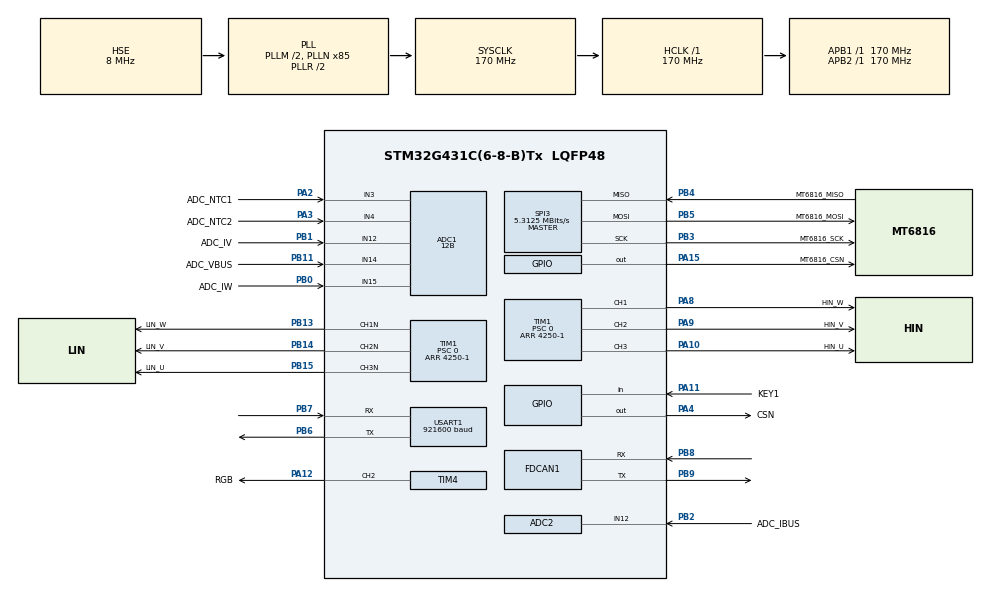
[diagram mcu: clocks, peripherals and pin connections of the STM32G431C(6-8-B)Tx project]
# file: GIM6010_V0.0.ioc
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ADC1.Channel-0\#ChannelRegularConversion=ADC_CHANNEL_14
ADC1.Channel-1\#ChannelRegularConversion=ADC_CHANNEL_3
ADC1.Channel-2\#ChannelRegularConversion=ADC_CHANNEL_4
ADC1.ContinuousConvMode=DISABLE
ADC1.DMAContinuousRequests=DISABLE
ADC1.DiscontinuousConvMode=DISABLE
ADC1.EOCSelection=ADC_EOC_SEQ_CONV
ADC1.EnableInjectedConversion=ENABLE
ADC1.EnableRegularConversion=ENABLE
ADC1.ExternalTrigConv=ADC_SOFTWARE_START
ADC1.ExternalTrigConvEdge=ADC_EXTERNALTRIGCONVEDGE_NONE
ADC1.ExternalTrigInjecConv=ADC_EXTERNALTRIGINJEC_T1_CC4
ADC1.ExternalTrigInjecConvEdge=ADC_EXTERNALTRIGINJECCONV_EDGE_RISING
ADC1.InjNumberOfConversion=3
ADC1.InjectedChannel-1\#ChannelInjectedConversion=ADC_CHANNEL_12
ADC1.InjectedChannel-2\#ChannelInjectedConversion=ADC_CHANNEL_15
ADC1.InjectedChannel-3\#ChannelInjectedConversion=ADC_CHANNEL_14
ADC1.InjectedConvMode=None
ADC1.InjectedOffsetNumber-1\#ChannelInjectedConversion=ADC_OFFSET_NONE
ADC1.InjectedOffsetNumber-2\#ChannelInjectedConversion=ADC_OFFSET_NONE
ADC1.InjectedOffsetNumber-3\#ChannelInjectedConversion=ADC_OFFSET_NONE
ADC1.InjectedRank-1\#ChannelInjectedConversion=1
ADC1.InjectedRank-2\#ChannelInjectedConversion=2
ADC1.InjectedRank-3\#ChannelInjectedConversion=3
ADC1.InjectedSamplingTime-1\#ChannelInjectedConversion=ADC_SAMPLETIME_47CYCLES_5
ADC1.InjectedSamplingTime-2\#ChannelInjectedConversion=ADC_SAMPLETIME_47CYCLES_5
ADC1.InjectedSamplingTime-3\#ChannelInjectedConversion=ADC_SAMPLETIME_47CYCLES_5
ADC1.LowPowerAutoWait=DISABLE
ADC1.NbrOfConversion=3
ADC1.NbrOfConversionFlag=1
ADC1.OffsetNumber-0\#ChannelRegularConversion=ADC_OFFSET_NONE
ADC1.OffsetNumber-1\#ChannelRegularConversion=ADC_OFFSET_NONE
ADC1.OffsetNumber-2\#ChannelRegularConversion=ADC_OFFSET_NONE
ADC1.Overrun=ADC_OVR_DATA_PRESERVED
ADC1.Rank-0\#ChannelRegularConversion=1
ADC1.Rank-1\#ChannelRegularConversion=2
ADC1.Rank-2\#ChannelRegularConversion=3
ADC1.Resolution=ADC_RESOLUTION_12B
ADC1.SamplingTime-0\#ChannelRegularConversion=ADC_SAMPLETIME_47CYCLES_5
ADC1.SamplingTime-1\#ChannelRegularConversion=ADC_SAMPLETIME_47CYCLES_5
ADC1.SamplingTime-2\#ChannelRegularConversion=ADC_SAMPLETIME_47CYCLES_5
ADC1.ScanConvMode=ADC_SCAN_ENABLE
ADC1.SingleDiff-1\#ChannelInjectedConversion=ADC_SINGLE_ENDED
ADC1.SingleDiff-2\#ChannelInjectedConversion=ADC_SINGLE_ENDED
ADC1.SingleDiff-3\#ChannelInjectedConversion=ADC_SINGLE_ENDED
ADC1.master=1
ADC2.Channel-0\#ChannelRegularConversion=ADC_CHANNEL_12
ADC2.ContinuousConvMode=DISABLE
ADC2.DiscontinuousConvMode=DISABLE
ADC2.EnableInjectedConversion=DISABLE
ADC2.EnableRegularConversion=ENABLE
ADC2.ExternalTrigConv=ADC_SOFTWARE_START
ADC2.ExternalTrigConvEdge=ADC_EXTERNALTRIGCONVEDGE_NONE
ADC2.NbrOfConversionFlag=1
ADC2.OffsetNumber-0\#ChannelRegularConversion=ADC_OFFSET_NONE
ADC2.Overrun=ADC_OVR_DATA_PRESERVED
ADC2.Rank-0\#ChannelRegularConversion=1
ADC2.Resolution=ADC_RESOLUTION_12B
ADC2.SamplingTime-0\#ChannelRegularConversion=ADC_SAMPLETIME_47CYCLES_5
Dma.Request0=USART1_TX
Dma.Request1=USART1_RX
Dma.Request2=SPI3_RX
Dma.Request3=SPI3_TX
Dma.Request4=TIM4_CH2
Dma.SPI3_RX.2.Direction=DMA_PERIPH_TO_MEMORY
Dma.SPI3_RX.2.EventEnable=DISABLE
Dma.SPI3_RX.2.Instance=DMA2_Channel1
Dma.SPI3_RX.2.MemDataAlignment=DMA_MDATAALIGN_HALFWORD
Dma.SPI3_RX.2.MemInc=DMA_MINC_ENABLE
Dma.SPI3_RX.2.Mode=DMA_NORMAL
Dma.SPI3_RX.2.PeriphDataAlignment=DMA_PDATAALIGN_HALFWORD
Dma.SPI3_RX.2.PeriphInc=DMA_PINC_DISABLE
Dma.SPI3_RX.2.Polarity=HAL_DMAMUX_REQ_GEN_RISING
Dma.SPI3_RX.2.Priority=DMA_PRIORITY_HIGH
Dma.SPI3_RX.2.RequestNumber=1
Dma.SPI3_RX.2.SignalID=NONE
Dma.SPI3_RX.2.SyncEnable=DISABLE
Dma.SPI3_RX.2.SyncPolarity=HAL_DMAMUX_SYNC_NO_EVENT
Dma.SPI3_RX.2.SyncRequestNumber=1
Dma.SPI3_RX.2.SyncSignalID=NONE
Dma.SPI3_TX.3.Direction=DMA_MEMORY_TO_PERIPH
Dma.SPI3_TX.3.EventEnable=DISABLE
Dma.SPI3_TX.3.Instance=DMA2_Channel2
Dma.SPI3_TX.3.MemDataAlignment=DMA_MDATAALIGN_HALFWORD
Dma.SPI3_TX.3.MemInc=DMA_MINC_ENABLE
Dma.SPI3_TX.3.Mode=DMA_NORMAL
Dma.SPI3_TX.3.PeriphDataAlignment=DMA_PDATAALIGN_HALFWORD
Dma.SPI3_TX.3.PeriphInc=DMA_PINC_DISABLE
Dma.SPI3_TX.3.Polarity=HAL_DMAMUX_REQ_GEN_RISING
Dma.SPI3_TX.3.Priority=DMA_PRIORITY_HIGH
Dma.SPI3_TX.3.RequestNumber=1
Dma.SPI3_TX.3.SignalID=NONE
Dma.SPI3_TX.3.SyncEnable=DISABLE
Dma.SPI3_TX.3.SyncPolarity=HAL_DMAMUX_SYNC_NO_EVENT
Dma.SPI3_TX.3.SyncRequestNumber=1
Dma.SPI3_TX.3.SyncSignalID=NONE
Dma.TIM4_CH2.4.Direction=DMA_MEMORY_TO_PERIPH
Dma.TIM4_CH2.4.EventEnable=DISABLE
Dma.TIM4_CH2.4.Instance=DMA1_Channel1
Dma.TIM4_CH2.4.MemDataAlignment=DMA_MDATAALIGN_HALFWORD
Dma.TIM4_CH2.4.MemInc=DMA_MINC_ENABLE
Dma.TIM4_CH2.4.Mode=DMA_NORMAL
Dma.TIM4_CH2.4.PeriphDataAlignment=DMA_PDATAALIGN_HALFWORD
Dma.TIM4_CH2.4.PeriphInc=DMA_PINC_DISABLE
Dma.TIM4_CH2.4.Polarity=HAL_DMAMUX_REQ_GEN_RISING
Dma.TIM4_CH2.4.Priority=DMA_PRIORITY_LOW
Dma.TIM4_CH2.4.RequestNumber=1
Dma.TIM4_CH2.4.SignalID=NONE
Dma.TIM4_CH2.4.SyncEnable=DISABLE
Dma.TIM4_CH2.4.SyncPolarity=HAL_DMAMUX_SYNC_NO_EVENT
Dma.TIM4_CH2.4.SyncRequestNumber=1
Dma.TIM4_CH2.4.SyncSignalID=NONE
Dma.USART1_RX.1.Direction=DMA_PERIPH_TO_MEMORY
Dma.USART1_RX.1.EventEnable=DISABLE
Dma.USART1_RX.1.Instance=DMA1_Channel4
Dma.USART1_RX.1.MemDataAlignment=DMA_MDATAALIGN_BYTE
Dma.USART1_RX.1.MemInc=DMA_MINC_ENABLE
Dma.USART1_RX.1.Mode=DMA_NORMAL
Dma.USART1_RX.1.PeriphDataAlignment=DMA_PDATAALIGN_BYTE
Dma.USART1_RX.1.PeriphInc=DMA_PINC_DISABLE
Dma.USART1_RX.1.Polarity=HAL_DMAMUX_REQ_GEN_RISING
Dma.USART1_RX.1.Priority=DMA_PRIORITY_LOW
Dma.USART1_RX.1.RequestNumber=1
Dma.USART1_RX.1.SignalID=NONE
Dma.USART1_RX.1.SyncEnable=DISABLE
Dma.USART1_RX.1.SyncPolarity=HAL_DMAMUX_SYNC_NO_EVENT
Dma.USART1_RX.1.SyncRequestNumber=1
Dma.USART1_RX.1.SyncSignalID=NONE
Dma.USART1_TX.0.Direction=DMA_MEMORY_TO_PERIPH
Dma.USART1_TX.0.EventEnable=DISABLE
Dma.USART1_TX.0.Instance=DMA1_Channel2
Dma.USART1_TX.0.MemDataAlignment=DMA_MDATAALIGN_BYTE
Dma.USART1_TX.0.MemInc=DMA_MINC_ENABLE
Dma.USART1_TX.0.Mode=DMA_NORMAL
Dma.USART1_TX.0.PeriphDataAlignment=DMA_PDATAALIGN_BYTE
Dma.USART1_TX.0.PeriphInc=DMA_PINC_DISABLE
Dma.USART1_TX.0.Polarity=HAL_DMAMUX_REQ_GEN_RISING
Dma.USART1_TX.0.Priority=DMA_PRIORITY_LOW
Dma.USART1_TX.0.RequestNumber=1
Dma.USART1_TX.0.SignalID=NONE
Dma.USART1_TX.0.SyncEnable=DISABLE
Dma.USART1_TX.0.SyncPolarity=HAL_DMAMUX_SYNC_NO_EVENT
Dma.USART1_TX.0.SyncRequestNumber=1
Dma.USART1_TX.0.SyncSignalID=NONE
FDCAN1.CalculateBaudRateNominal=1000000
FDCAN1.CalculateTimeBitNominal=1000
FDCAN1.CalculateTimeQuantumNominal=58.8235294117647
FDCAN1.NominalPrescaler=10
FDCAN1.NominalTimeSeg1=12
FDCAN1.NominalTimeSeg2=4
FDCAN1.StdFiltersNbr=1
Mcu.Family=STM32G4
Mcu.Name=STM32G431C(6-8-B)Tx
Mcu.Package=LQFP48
NVIC.ADC1_2_IRQn=true\:0\:0\:true\:false\:true\:true\:true\:true
NVIC.DMA1_Channel1_IRQn=true\:0\:0\:false\:false\:true\:false\:true\:true
NVIC.DMA1_Channel2_IRQn=true\:3\:0\:true\:false\:true\:false\:true\:true
NVIC.DMA1_Channel4_IRQn=true\:3\:0\:true\:false\:true\:false\:true\:true
NVIC.DMA2_Channel1_IRQn=true\:1\:0\:true\:false\:true\:false\:true\:true
NVIC.DMA2_Channel2_IRQn=true\:1\:0\:true\:false\:true\:false\:true\:true
NVIC.FDCAN1_IT0_IRQn=true\:3\:0\:true\:false\:true\:true\:true\:true
NVIC.PriorityGroup=NVIC_PRIORITYGROUP_4
NVIC.SPI3_IRQn=true\:1\:0\:true\:false\:true\:true\:true\:true
NVIC.TIM1_BRK_TIM15_IRQn=true\:0\:0\:false\:false\:true\:true\:true\:true
NVIC.TIM1_CC_IRQn=true\:0\:0\:false\:false\:true\:true\:true\:true
NVIC.TIM1_TRG_COM_TIM17_IRQn=true\:0\:0\:false\:false\:true\:true\:true\:true
NVIC.TIM1_UP_TIM16_IRQn=true\:0\:0\:false\:false\:true\:true\:true\:true
NVIC.TIM2_IRQn=true\:2\:0\:true\:false\:true\:true\:true\:true
NVIC.TIM4_IRQn=true\:0\:0\:false\:false\:true\:true\:true\:true
NVIC.USART1_IRQn=true\:3\:0\:true\:false\:true\:true\:true\:true
PA10.GPIO_Label=HIN_U
PA10.Signal=S_TIM1_CH3
PA11.GPIO_Label=KEY1
PA11.Signal=GPIO_Input
PA12.GPIO_Label=RGB
PA12.Signal=S_TIM4_CH2
PA13.Mode=Serial_Wire
PA13.Signal=SYS_JTMS-SWDIO
PA14.Mode=Serial_Wire
PA14.Signal=SYS_JTCK-SWCLK
PA15.GPIO_Label=MT6816_CSN
PA15.GPIO_Speed=GPIO_SPEED_FREQ_VERY_HIGH
PA15.PinState=GPIO_PIN_SET
PA15.Signal=GPIO_Output
PA2.GPIO_Label=ADC_NTC1
PA2.Mode=IN3-Single-Ended
PA2.Signal=ADC1_IN3
PA3.GPIO_Label=ADC_NTC2
PA3.Mode=IN4-Single-Ended
PA3.Signal=ADC1_IN4
PA4.GPIO_Label=CSN
PA4.Signal=GPIO_Output
PA8.GPIO_Label=HIN_W
PA8.Signal=S_TIM1_CH1
PA9.GPIO_Label=HIN_V
PA9.Signal=S_TIM1_CH2
PB0.GPIO_Label=ADC_IW
PB0.Mode=IN15-Single-Ended
PB0.Signal=ADC1_IN15
PB1.GPIO_Label=ADC_IV
PB1.Mode=IN12-Single-Ended
PB1.Signal=ADC1_IN12
PB11.GPIO_Label=ADC_VBUS
PB11.Mode=IN14-Single-Ended
PB11.Signal=ADC1_IN14
PB13.GPIO_Label=LIN_W
PB13.Mode=PWM Generation1 CH1 CH1N
PB13.Signal=TIM1_CH1N
PB14.GPIO_Label=LIN_V
PB14.Mode=PWM Generation2 CH2 CH2N
PB14.Signal=TIM1_CH2N
PB15.GPIO_Label=LIN_U
PB15.Mode=PWM Generation3 CH3 CH3N
PB15.Signal=TIM1_CH3N
PB2.GPIO_Label=ADC_IBUS
PB2.Mode=IN12-Single-Ended
PB2.Signal=ADC2_IN12
PB3.GPIO_Label=MT6816_SCK
PB3.Mode=Full_Duplex_Master
PB3.Signal=SPI3_SCK
PB4.GPIO_Label=MT6816_MISO
PB4.Mode=Full_Duplex_Master
PB4.Signal=SPI3_MISO
PB5.GPIO_Label=MT6816_MOSI
PB5.Mode=Full_Duplex_Master
PB5.Signal=SPI3_MOSI
PB6.Mode=Asynchronous
PB6.Signal=USART1_TX
PB7.Mode=Asynchronous
PB7.Signal=USART1_RX
PB8-BOOT0.Mode=FDCAN_Activate
PB8-BOOT0.Signal=FDCAN1_RX
PB9.Mode=FDCAN_Activate
PB9.Signal=FDCAN1_TX
PF0-OSC_IN.Mode=HSE-External-Oscillator
PF0-OSC_IN.Signal=RCC_OSC_IN
PF1-OSC_OUT.Mode=HSE-External-Oscillator
PF1-OSC_OUT.Signal=RCC_OSC_OUT
ProjectManager.HeapSize=0x200
ProjectManager.StackSize=0x400
ProjectManager.TargetToolchain=MDK-ARM V5.32
RCC.ADC12Freq_Value=170000000
RCC.AHBFreq_Value=170000000
RCC.APB1Freq_Value=170000000
RCC.APB1TimFreq_Value=170000000
RCC.APB2Freq_Value=170000000
RCC.APB2TimFreq_Value=170000000
RCC.CortexFreq_Value=170000000
RCC.EXTERNAL_CLOCK_VALUE=12288000
RCC.HCLKFreq_Value=170000000
RCC.HSE_VALUE=8000000
RCC.HSI48_VALUE=48000000
RCC.HSI_VALUE=16000000
RCC.LSE_VALUE=32768
RCC.PLLM=RCC_PLLM_DIV2
RCC.PLLN=85
RCC.PLLSourceVirtual=RCC_PLLSOURCE_HSE
RCC.SYSCLKFreq_VALUE=170000000
RCC.SYSCLKSource=RCC_SYSCLKSOURCE_PLLCLK
RCC.USBFreq_Value=170000000
RCC.VCOOutputFreq_Value=340000000
SH.S_TIM1_CH1.0=TIM1_CH1,PWM Generation1 CH1 CH1N
SH.S_TIM1_CH2.0=TIM1_CH2,PWM Generation2 CH2 CH2N
SH.S_TIM1_CH3.0=TIM1_CH3,PWM Generation3 CH3 CH3N
SH.S_TIM4_CH2.0=TIM4_CH2,PWM Generation2 CH2
SPI3.BaudRatePrescaler=SPI_BAUDRATEPRESCALER_32
SPI3.CLKPhase=SPI_PHASE_2EDGE
SPI3.CLKPolarity=SPI_POLARITY_HIGH
SPI3.CalculateBaudRate=5.3125 MBits/s
SPI3.DataSize=SPI_DATASIZE_16BIT
SPI3.Direction=SPI_DIRECTION_2LINES
SPI3.Mode=SPI_MODE_MASTER
SPI3.VirtualType=VM_MASTER
TIM1.AutoReloadPreload=TIM_AUTORELOAD_PRELOAD_ENABLE
TIM1.AutomaticOutput=TIM_AUTOMATICOUTPUT_DISABLE
TIM1.BreakState=TIM_BREAK_DISABLE
TIM1.Channel-PWM\ Generation1\ CH1\ CH1N=TIM_CHANNEL_1
TIM1.Channel-PWM\ Generation2\ CH2\ CH2N=TIM_CHANNEL_2
TIM1.Channel-PWM\ Generation3\ CH3\ CH3N=TIM_CHANNEL_3
TIM1.Channel-PWM\ Generation4\ No\ Output=TIM_CHANNEL_4
TIM1.ClockDivision=TIM_CLOCKDIVISION_DIV2
TIM1.CounterMode=TIM_COUNTERMODE_CENTERALIGNED1
TIM1.DeadTime=9
TIM1.OCMode_PWM-PWM\ Generation4\ No\ Output=TIM_OCMODE_PWM2
TIM1.OffStateIDLEMode=TIM_OSSI_ENABLE
TIM1.OffStateRunMode=TIM_OSSR_ENABLE
TIM1.PeriodNoDither=4250-1
TIM1.Prescaler=0
TIM1.RepetitionCounter=0
TIM1.TIM_MasterOutputTrigger=TIM_TRGO_OC4REF
TIM2.Channel-PWM\ Generation1\ No\ Output=TIM_CHANNEL_1
TIM2.PeriodNoDither=1000-1
TIM2.Prescaler=170-1
TIM4.Channel-PWM\ Generation2\ CH2=TIM_CHANNEL_2
USART1.BaudRate=921600
USART1.VirtualMode-Asynchronous=VM_ASYNC
VP_SYS_VS_DBSignals.Mode=DisableDeadBatterySignals
VP_TIM1_VS_no_output4.Mode=PWM Generation4 No Output
VP_TIM2_VS_no_output1.Mode=PWM Generation1 No Output
board=custom

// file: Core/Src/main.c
/* USER CODE BEGIN Header */
/**
  ******************************************************************************
  * @file           : main.c
  * @brief          : Main program body
  ******************************************************************************
  * @attention
  *
  * Copyright (c) 2026 STMicroelectronics.
  * All rights reserved.
  *
  * This software is licensed under terms that can be found in the LICENSE file
  * in the root directory of this software component.
  * If no LICENSE file comes with this software, it is provided AS-IS.
  *
  ******************************************************************************
  */
/* USER CODE END Header */
#include "main.h"
#include "adc.h"
#include "dma.h"
#include "fdcan.h"
#include "spi.h"
#include "tim.h"
#include "usart.h"
#include "gpio.h"

/* USER CODE BEGIN Includes */
#include "SguanFOC.h"
#include "app_joint.h"
#include "app_callbacks.h"
#include "Sguan_printf.h"
#include "usart.h"
/* USER CODE END Includes */

void SystemClock_Config(void);

int main(void)
{

  /* MCU Configuration--------------------------------------------------------*/

  /* Reset of all peripherals, Initializes the Flash interface and the Systick. */
  HAL_Init();

  /* Configure the system clock */
  SystemClock_Config();

  /* Initialize all configured peripherals */
  MX_GPIO_Init();
  MX_DMA_Init();
  MX_ADC1_Init();
  MX_ADC2_Init();
  MX_FDCAN1_Init();
  MX_SPI3_Init();
  MX_TIM1_Init();
  MX_TIM4_Init();
  MX_USART1_UART_Init();
  MX_TIM2_Init();
  /* USER CODE BEGIN 2 */
  /* VOFA 命令接收：USART1 空闲中断 + DMA（AO/BO/CO 命令解析在库内完成） */
  if (APP_UartRxStart() == 0U) {
    Error_Handler();
  }

  /* 应用层初始化：RGB/CAN/ADC；500ms 后仅进入安全待命，必须由 CO=1? 显式使能。 */
  APP_JointInit();

  /* 应用/BSP 就绪后才启动 1kHz 状态机与保护。TIM1 在 User_InitialInit 中以
   * MOE=0 直接启计数器；20kHz High_Loop 由 ADC 注入完成回调触发。 */
  if (HAL_TIM_Base_Start_IT(&htim2) != HAL_OK) {
    Error_Handler();
  }
  /* USER CODE END 2 */

  /* Infinite loop */
  /* USER CODE BEGIN WHILE */
  while (1)
  {
    /* SguanFOC 库主循环：初始化/对齐状态机 + JustFloat 发送（User_CorrespondSet 内 500Hz 限速） */
    SguanFOC_main_Loop();

    /* 应用层：状态机 + LED 灯效 + 慢速 ADC + CAN 遥测 */
    APP_JointPoll();
    /* USER CODE END WHILE */

  }
}

void SystemClock_Config(void)
{
  RCC_OscInitTypeDef RCC_OscInitStruct = {0};
  RCC_ClkInitTypeDef RCC_ClkInitStruct = {0};

  /** Configure the main internal regulator output voltage
  */
  HAL_PWREx_ControlVoltageScaling(PWR_REGULATOR_VOLTAGE_SCALE1_BOOST);

  /** Initializes the RCC Oscillators according to the specified parameters
  * in the RCC_OscInitTypeDef structure.
  */
  RCC_OscInitStruct.OscillatorType = RCC_OSCILLATORTYPE_HSE;
  RCC_OscInitStruct.HSEState = RCC_HSE_ON;
  RCC_OscInitStruct.PLL.PLLState = RCC_PLL_ON;
  RCC_OscInitStruct.PLL.PLLSource = RCC_PLLSOURCE_HSE;
  RCC_OscInitStruct.PLL.PLLM = RCC_PLLM_DIV2;
  RCC_OscInitStruct.PLL.PLLN = 85;
  RCC_OscInitStruct.PLL.PLLP = RCC_PLLP_DIV2;
  RCC_OscInitStruct.PLL.PLLQ = RCC_PLLQ_DIV2;
  RCC_OscInitStruct.PLL.PLLR = RCC_PLLR_DIV2;
  if (HAL_RCC_OscConfig(&RCC_OscInitStruct) != HAL_OK)
  {
    Error_Handler();
  }

  /** Initializes the CPU, AHB and APB buses clocks
  */
  RCC_ClkInitStruct.ClockType = RCC_CLOCKTYPE_HCLK|RCC_CLOCKTYPE_SYSCLK
                              |RCC_CLOCKTYPE_PCLK1|RCC_CLOCKTYPE_PCLK2;
  RCC_ClkInitStruct.SYSCLKSource = RCC_SYSCLKSOURCE_PLLCLK;
  RCC_ClkInitStruct.AHBCLKDivider = RCC_SYSCLK_DIV1;
  RCC_ClkInitStruct.APB1CLKDivider = RCC_HCLK_DIV1;
  RCC_ClkInitStruct.APB2CLKDivider = RCC_HCLK_DIV1;

  if (HAL_RCC_ClockConfig(&RCC_ClkInitStruct, FLASH_LATENCY_4) != HAL_OK)
  {
    Error_Handler();
  }
}

void Error_Handler(void)
{
  /* USER CODE BEGIN Error_Handler_Debug */
  /* 即使异常发生在控制运行期间，也必须先直接清 TIM1 MOE，再关中断停机。 */
  TIM1->BDTR &= ~TIM_BDTR_MOE;
  __DSB();
  __disable_irq();
  while (1)
  {
  }
  /* USER CODE END Error_Handler_Debug */
}
#ifdef USE_FULL_ASSERT
/**
  * @brief  Reports the name of the source file and the source line number
  *         where the assert_param error has occurred.
  * @param  file: pointer to the source file name
  * @param  line: assert_param error line source number
  * @retval None
  */
void assert_failed(uint8_t *file, uint32_t line)
{
  /* USER CODE BEGIN 6 */
  (void)file;
  (void)line;
  Error_Handler();
  /* USER CODE END 6 */
}
#endif /* USE_FULL_ASSERT */
